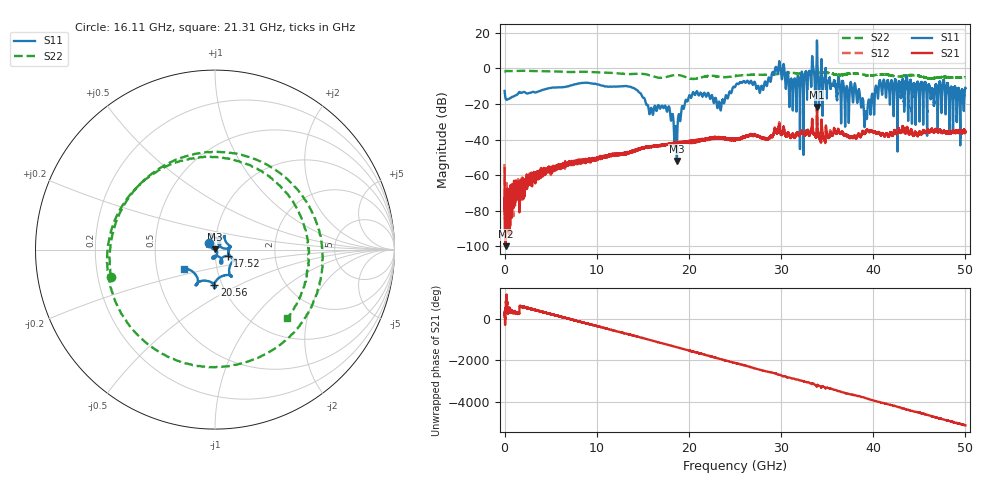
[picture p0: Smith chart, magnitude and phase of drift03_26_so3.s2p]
!Created with skrf (http://scikit-rf.org).
# Hz S RI R 50.0
!freq ReS11 ImS11 ReS21 ImS21 ReS12 ImS12 ReS22 ImS22
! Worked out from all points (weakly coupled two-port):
!   10001 points, 300 kHz to 50 GHz, reference 50 ohm
!   highest |S21| = -21.64 dB at 33.9 GHz (marker M1); lowest = -99.9 dB at 105.3 MHz (marker M2)
!   lowest |S11| = -52.0 dB at 18.69 GHz (marker M3), VSWR 1.01, Z = 49.8 + j0.183 ohm
!   |S11| at or under -10 dB: start of sweep to 6.948 GHz; 13.31 GHz to 25.05 GHz (11.74 GHz wide, 61.2 % of centre); 38.08 GHz to 40.27 GHz (2.192 GHz wide, 5.6 % of centre) (the widest 3 of 55)
!   |S22| runs from -5.9 to -1.3 dB; largest |S21 - S12| = 0.0065
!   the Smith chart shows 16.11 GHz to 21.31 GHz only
!   S11 on the Smith chart (normalised r, x): 16.11 GHz: 0.93, +0.07; 17.52 GHz: 1.15, -0.08; 20.56 GHz: 0.92, -0.38; 21.31 GHz: 0.69, -0.16
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300000  -0.2105 -0.0995  -0.000151 0.00154  0.000653 0.00196  -0.7643 -0.187
1.052994e8  -0.1306 0.0603  -6.25e-06 8.01e-06  3.6e-05 0.000185  -0.826 0.1602
1.530291e9  0.2027 0.0457  -7.17e-05 -0.000329  -0.000198 -0.000515  0.8482 0.0853
3.160281e9  -0.2187 -0.00846  1.17e-05 0.000789  0.000125 0.00105  -0.8444 -0.0248
4.665272e9  0.2632 0.061  0.000144 -0.00141  -8.02e-05 -0.00146  0.8189 0.1418
6.360262e9  -0.3002 0.000782  0.000423 0.00167  0.0004 0.00175  -0.8039 -0.0413
8.33525e9  0.2837 -0.2677  -0.00244 -0.000891  -0.00223 -0.000751  0.601 -0.5364
1.043024e10  -0.0429 0.332  0.00258 -0.00204  0.00238 -0.00191  -0.0368 0.77
1.201523e10  0.00692 -0.3084  -0.0032 0.0024  -0.00295 0.00239  0.1057 -0.73
1.61102e10  -0.0328 0.0394  0.00634 0.00201  0.00618 0.00198  -0.578 -0.1553
1.66702e10  0.0542 0.0758  0.00459 -0.00474  0.0045 -0.00481  -0.3563 0.4196
1.751519e10  0.0697 -0.0347  -0.00595 -0.00401  -0.00587 -0.00417  0.4878 0.2975
1.869019e10  -0.0017 0.00184  0.00226 0.00778  0.00241 0.00771  -0.083 -0.6487
2.056018e10  -0.00354 -0.1983  -0.0074 -0.00482  -0.00796 -0.00479  0.3641 0.3519
2.131017e10  -0.173 -0.1092  -0.00486 0.00814  -0.00504 0.00761  0.403 -0.3826
2.500015e10  -0.2969 -0.0473  0.00772 0.00657  0.00822 0.00678  -0.1875 -0.5821
3.050512e10  0.2564 -0.0866  -0.00287 0.013  -0.00273 0.0125  0.7415 -0.0578
3.213011e10  0.205 0.37  -6.54e-05 -0.0151  -0.000373 -0.0147  -0.6949 0.0182
3.33351e10  0.4631 -1.016  -0.00434 0.0254  -0.00531 0.0244  0.6133 0.3655
3.38951e10  -1.014 -6.028  0.0826 0.00665  0.077 0.00321  0.6847 -0.322
4.167005e10  -0.2153 0.2822  -0.0112 -0.00473  -0.0117 -0.00473  -0.6506 -0.0504
5e10  -0.1422 -0.2445  0.00177 -0.0157  0.00132 -0.0159  0.4662 -0.3165
